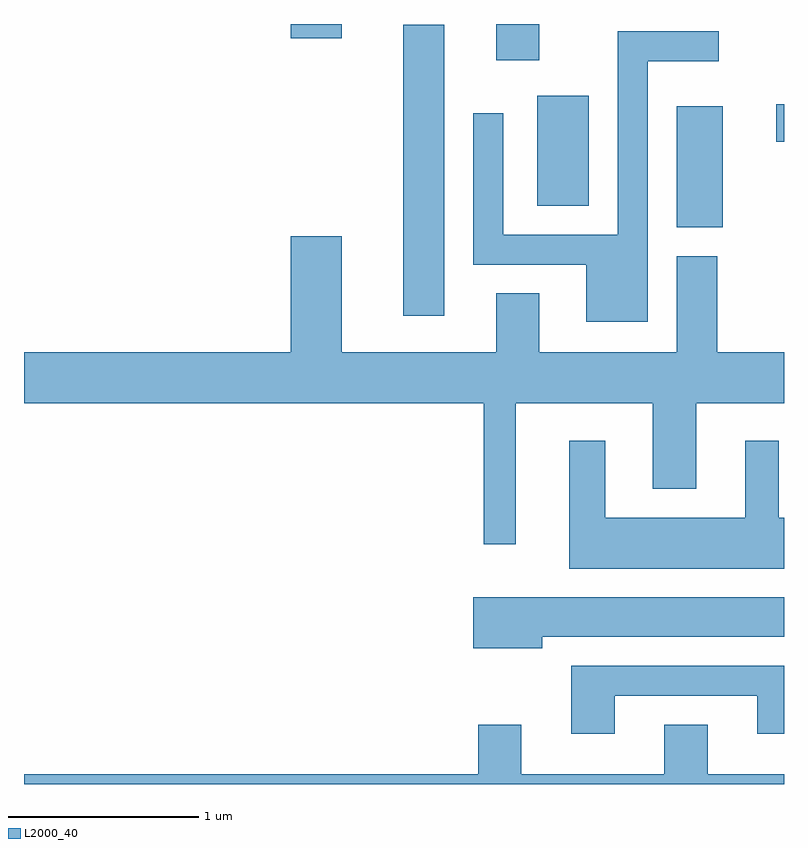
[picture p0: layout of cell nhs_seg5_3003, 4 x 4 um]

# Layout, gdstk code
import gdstk
lib = gdstk.Library(unit=1e-6, precision=1e-09)
def R(c, l, rs):  # rectangles x0, y0, x1, y1
    for r in rs: c.add(gdstk.rectangle(r[:2], r[2:], *l))
def P(c, l, *ps):  # polygons
    for p in ps: c.add(gdstk.Polygon(p, *l))
L2000_40 = (2000, 40)

nhs_seg5_3003 = lib.new_cell('nhs_seg5_3003')
R(nhs_seg5_3003, L2000_40, [(275.606,1510.536,275.824,1512.069), (277.046,1511.001,277.289,1511.639), (276.311,1511.116,276.584,1511.694), (277.571,1511.451,277.611,1511.649), (276.096,1511.881,276.324,1512.072), (275.016,1511.996,275.284,1512.072)])
P(nhs_seg5_3003, L2000_40, [(276.894,1511.876),(277.268,1511.876),(277.268,1512.034),(276.736,1512.034),(276.736,1510.964),(276.134,1510.964),(276.134,1511.603),(275.976,1511.603),(275.976,1510.806),(276.571,1510.806),(276.571,1510.506),(276.894,1510.506)],
  [(276.199,1510.076),(276.921,1510.076),(276.921,1509.626),(277.149,1509.626),(277.149,1510.076),(277.611,1510.076),(277.611,1510.344),(277.259,1510.344),(277.259,1510.849),(277.046,1510.849),(277.046,1510.344),(276.324,1510.344),(276.324,1510.654),(276.096,1510.654),(276.096,1510.344),(275.284,1510.344),(275.284,1510.954),(275.016,1510.954),(275.016,1510.344),(273.611,1510.344),(273.611,1510.076),(276.031,1510.076),(276.031,1509.333),(276.199,1509.333)],
  [(277.611,1509.474),(277.584,1509.474),(277.584,1509.879),(277.406,1509.879),(277.406,1509.474),(276.669,1509.474),(276.669,1509.879),(276.481,1509.879),(276.481,1509.206),(277.611,1509.206)],
  [(276.339,1508.846),(277.611,1508.846),(277.611,1509.054),(275.976,1509.054),(275.976,1508.786),(276.339,1508.786)],
  [(276.719,1508.536),(277.471,1508.536),(277.471,1508.336),(277.611,1508.336),(277.611,1508.694),(276.491,1508.694),(276.491,1508.336),(276.719,1508.336)],
  [(277.611,1508.124),(277.209,1508.124),(277.209,1508.384),(276.981,1508.384),(276.981,1508.124),(276.229,1508.124),(276.229,1508.384),(276.001,1508.384),(276.001,1508.124),(273.611,1508.124),(273.611,1508.072),(277.611,1508.072)])

lib.write_gds('nhs_seg5_3003.gds')
